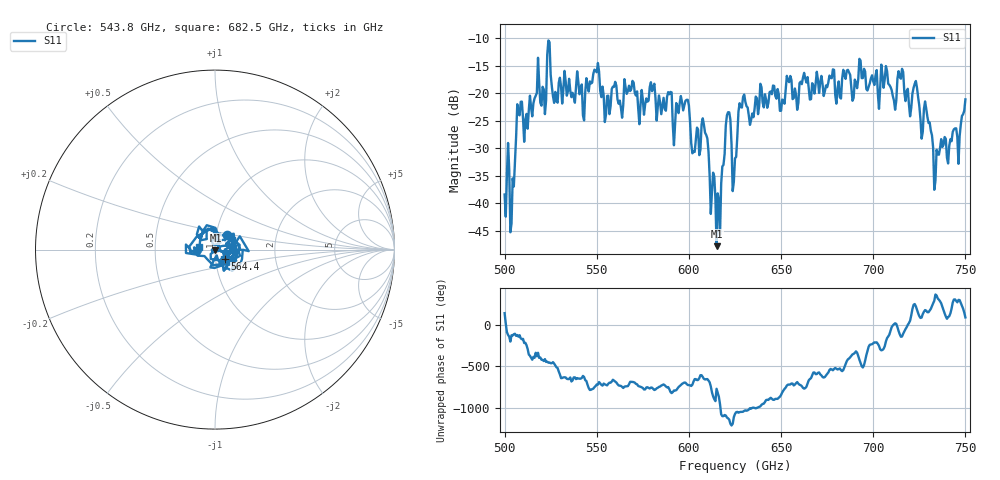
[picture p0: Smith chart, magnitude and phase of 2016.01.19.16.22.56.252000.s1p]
!Created with skrf (http://scikit-rf.org).
# GHz S RI R 50.0
!freq ReS11 ImS11
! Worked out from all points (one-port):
!   401 points, 500 GHz to 750 GHz, reference 50 ohm
!   lowest |S11| = -47.8 dB at 615 GHz (marker M1), VSWR 1.01, Z = 50.2 - j0.326 ohm
!   |S11| at or under -10 dB: start of sweep to end of sweep
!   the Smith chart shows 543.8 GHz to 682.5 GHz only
!   S11 on the Smith chart (normalised r, x): 543.8 GHz: 1.12, +0.18; 564.4 GHz: 1.11, -0.12; 682.5 GHz: 0.84, +0.02
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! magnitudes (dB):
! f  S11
! 500 GHz  -38.4
! 504.4 GHz  -35.5
! 508.1 GHz  -24.0
! 521.2 GHz  -19.3
! 524.4 GHz  -10.7
! 527.5 GHz  -19.8
! 531.2 GHz  -21.9
! 543.8 GHz  -19.8
! 550 GHz  -16.2
! 562.5 GHz  -21.3
! 564.4 GHz  -22.1
! 593.8 GHz  -22.4
! 598.8 GHz  -21.2
! 602.5 GHz  -30.6
! 608.1 GHz  -25.7
! 615 GHz  -47.8
! 616.2 GHz  -39.4
! 621.2 GHz  -23.5
! 625 GHz  -31.8
! 628.8 GHz  -22.6
! 656.2 GHz  -21.1
! 682.5 GHz  -21.0
! 687.5 GHz  -16.7
! 715 GHz  -17.4
! 718.8 GHz  -19.2
! 723.1 GHz  -17.8
! 734.4 GHz  -30.3
! 750 GHz  -21.1
